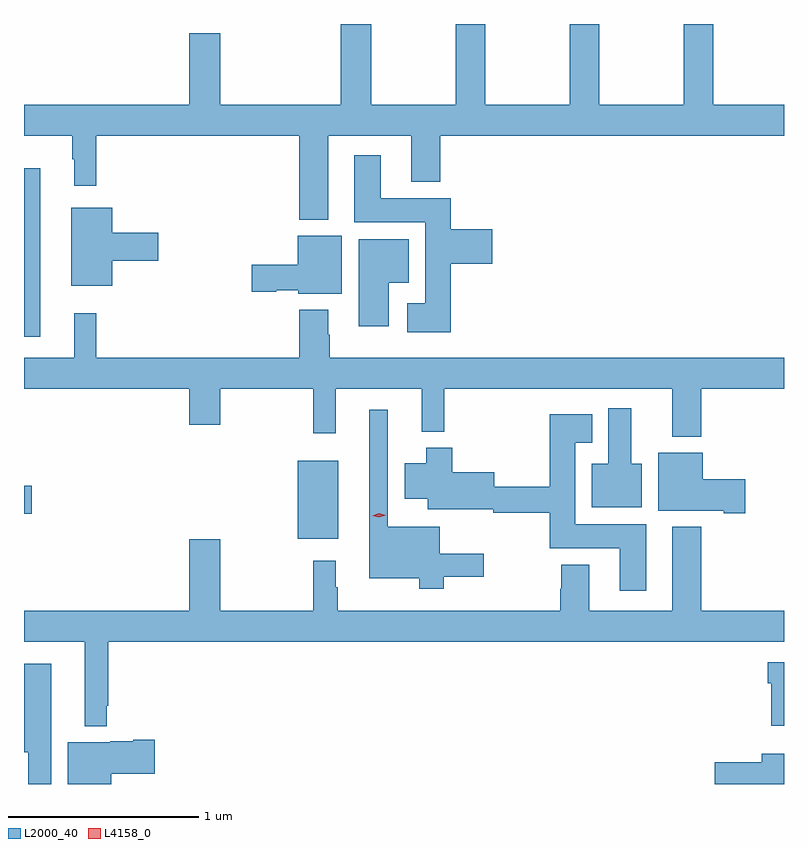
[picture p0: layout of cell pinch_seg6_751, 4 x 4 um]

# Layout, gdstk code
import gdstk
lib = gdstk.Library(unit=1e-6, precision=1e-09)
def R(c, l, rs):  # rectangles x0, y0, x1, y1
    for r in rs: c.add(gdstk.rectangle(r[:2], r[2:], *l))
def P(c, l, *ps):  # polygons
    for p in ps: c.add(gdstk.Polygon(p, *l))
L2000_40 = (2000, 40)
L4158_0 = (4158, 0)

pinch_seg6_751 = lib.new_cell('pinch_seg6_751')
R(pinch_seg6_751, L2000_40, [(309.434,986.507,309.649,986.917), (307.994,986.639,308.035,986.786), (307.994,987.57,308.08,988.456)])
P(pinch_seg6_751, L2000_40, [(309.595,988.628),(310.031,988.628),(310.031,988.385),(310.184,988.385),(310.184,988.628),(311.994,988.628),(311.994,988.792),(311.622,988.792),(311.622,989.216),(311.467,989.216),(311.467,988.792),(311.022,988.792),(311.022,989.216),(310.867,989.216),(310.867,988.792),(310.422,988.792),(310.422,989.216),(310.267,989.216),(310.267,988.792),(309.822,988.792),(309.822,989.216),(309.662,989.216),(309.662,988.792),(309.028,988.792),(309.028,989.167),(308.864,989.167),(308.864,988.792),(307.994,988.792),(307.994,988.628),(308.247,988.628),(308.247,988.505),(308.258,988.505),(308.258,988.365),(308.375,988.365),(308.375,988.628),(309.443,988.628),(309.443,988.187),(309.595,988.187)],
  [(310.241,987.953),(310.459,987.953),(310.459,988.136),(310.241,988.136),(310.241,988.3),(309.871,988.3),(309.871,988.525),(309.731,988.525),(309.731,988.172),(310.106,988.172),(310.106,987.745),(310.011,987.745),(310.011,987.593),(310.241,987.593)],
  [(308.458,987.971),(308.701,987.971),(308.701,988.118),(308.458,988.118),(308.458,988.249),(308.243,988.249),(308.243,987.839),(308.458,987.839)],
  [(309.667,988.102),(309.434,988.102),(309.434,987.95),(309.192,987.95),(309.192,987.808),(309.321,987.808),(309.321,987.815),(309.438,987.815),(309.438,987.797),(309.667,987.797)],
  [(309.913,987.854),(310.018,987.854),(310.018,988.084),(309.755,988.084),(309.755,987.624),(309.913,987.624)],
  [(311.558,987.296),(311.994,987.296),(311.994,987.46),(309.603,987.46),(309.603,987.581),(309.595,987.581),(309.595,987.712),(309.443,987.712),(309.443,987.46),(308.375,987.46),(308.375,987.694),(308.258,987.694),(308.258,987.46),(307.994,987.46),(307.994,987.296),(308.864,987.296),(308.864,987.108),(309.028,987.108),(309.028,987.296),(309.517,987.296),(309.517,987.063),(309.635,987.063),(309.635,987.296),(310.088,987.296),(310.088,987.071),(310.205,987.071),(310.205,987.296),(311.405,987.296),(311.405,987.044),(311.558,987.044)],
  [(311.245,986.902),(311.191,986.902),(311.191,987.193),(311.069,987.193),(311.069,986.902),(310.982,986.902),(310.982,986.672),(311.245,986.672)],
  [(310.202,986.306),(310.414,986.306),(310.414,986.428),(310.183,986.428),(310.183,986.569),(309.909,986.569),(309.909,987.187),(309.812,987.187),(309.812,986.3),(310.074,986.3),(310.074,986.243),(310.202,986.243)],
  [(311.269,986.584),(310.894,986.584),(310.894,987.011),(310.984,987.011),(310.984,987.163),(310.76,987.163),(310.76,986.78),(310.468,986.78),(310.468,986.857),(310.247,986.857),(310.247,986.986),(310.112,986.986),(310.112,986.905),(309.998,986.905),(309.998,986.717),(310.118,986.717),(310.118,986.663),(310.464,986.663),(310.464,986.644),(310.76,986.644),(310.76,986.456),(311.129,986.456),(311.129,986.232),(311.269,986.232)],
  [(311.791,986.82),(311.566,986.82),(311.566,986.959),(311.333,986.959),(311.333,986.654),(311.678,986.654),(311.678,986.642),(311.791,986.642)],
  [(308.429,985.627),(308.437,985.627),(308.437,985.964),(311.994,985.964),(311.994,986.128),(311.558,986.128),(311.558,986.569),(311.405,986.569),(311.405,986.128),(310.969,986.128),(310.969,986.371),(310.822,986.371),(310.822,986.244),(310.817,986.244),(310.817,986.128),(309.646,986.128),(309.646,986.252),(309.634,986.252),(309.634,986.392),(309.517,986.392),(309.517,986.128),(309.028,986.128),(309.028,986.503),(308.864,986.503),(308.864,986.128),(307.994,986.128),(307.994,985.964),(308.315,985.964),(308.315,985.52),(308.429,985.52)],
  [(311.994,985.858),(311.908,985.858),(311.908,985.745),(311.928,985.745),(311.928,985.523),(311.994,985.523)],
  [(308.137,985.849),(307.994,985.849),(307.994,985.382),(308.016,985.382),(308.016,985.216),(308.137,985.216)],
  [(308.452,985.27),(308.683,985.27),(308.683,985.448),(308.57,985.448),(308.57,985.441),(308.448,985.441),(308.448,985.435),(308.225,985.435),(308.225,985.216),(308.452,985.216)],
  [(311.994,985.375),(311.876,985.375),(311.876,985.33),(311.63,985.33),(311.63,985.216),(311.994,985.216)])
P(pinch_seg6_751, L4158_0, [(309.863,986.62),(309.827,986.628),(309.827,986.628),(309.827,986.628),(309.863,986.64),(309.899,986.631),(309.899,986.631),(309.899,986.631)])

lib.write_gds('pinch_seg6_751.gds')
